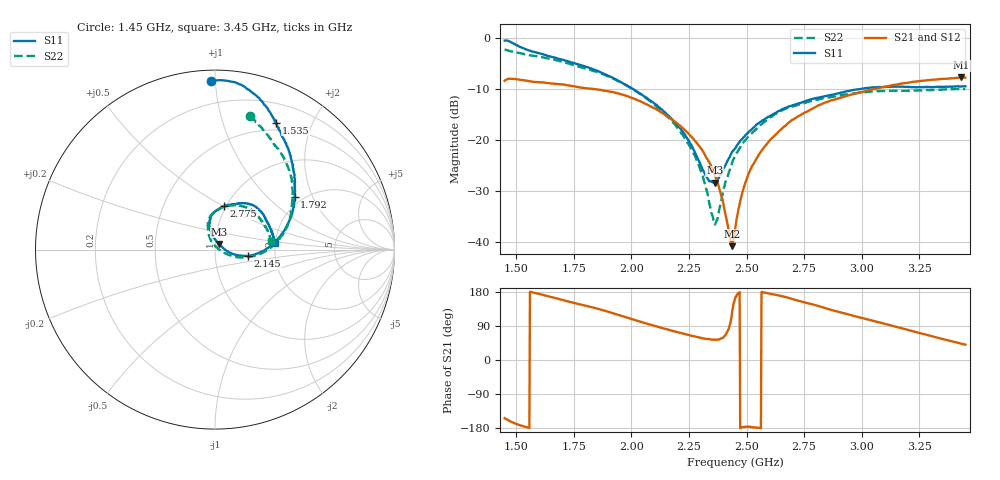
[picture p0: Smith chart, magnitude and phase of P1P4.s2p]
!Agilent Technologies,E8363B,MY43030801,A.06.04.21
!Agilent E8363B: A.06.04.21
!Date: Friday, October 24, 2025 08:33:00
!Correction: S11(Full 2 Port(1,2)) S21(Full 2 Port(1,2)) S12(Full 2 Port(1,2)) S22(Full 2 Port(1,2))
!S2P File: Measurements: S11, S21, S12, S22:
# Hz S  MA  R 50
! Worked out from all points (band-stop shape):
!   801 points, 1.45 GHz to 3.45 GHz, reference 50 ohm
!   highest |S21| = -7.75 dB at 3.433 GHz (marker M1); lowest = -40.9 dB at 2.438 GHz (marker M2)
!   |S21| within 3 dB of the highest: start of sweep to 1.93 GHz; 2.987 GHz to end of sweep
!   lowest |S11| = -28.4 dB at 2.362 GHz (marker M3), VSWR 1.08, Z = 52.2 + j3.22 ohm
!   |S11| at or under -10 dB: 2.005 GHz to 2.997 GHz (991.9 MHz wide, 39.7 % of centre)
!   |S22| runs from -36.6 to -2.3 dB; largest |S21 - S12| = 0.0044
!   S11 on the Smith chart (normalised r, x): 1.45 GHz: 0.06, +0.97; 1.535 GHz: 0.41, +1.51; 1.792 GHz: 1.82, +1.48; 2.145 GHz: 1.44, -0.11; 2.775 GHz: 0.98, +0.51; 3.45 GHz: 1.99, +0.16
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1.45e9  0.9406 91.4  0.3798 -153.3  0.3798 -153.7  0.7677 75.2
1.4875e9  0.8839 74.5  0.3962 -165.5  0.3979 -165.8  0.7313 69.9
1.535e9  0.785 64.4  0.3828 -175.7  0.3845 -175.8  0.6939 64.1
1.785e9  0.5369 34.4  0.3248 145.8  0.3249 145.5  0.5132 32.9
1.7925e9  0.5312 33.3  0.3232 144.7  0.3238 144.6  0.5077 31.9
1.9575e9  0.3656 11.0  0.2791 116.6  0.2801 116.2  0.3632 9.3
2.1175e9  0.2115 -8.2  0.194 87.5  0.1939 87.1  0.2041 -10.9
2.145e9  0.1868 -11.0  0.1774 82.5  0.1777 82.4  0.1789 -13.7
2.275e9  0.07648 -9.7  0.09814 62.4  0.09887 62.0  0.07041 -20.3
2.33e9  0.04226 19.7  0.06452 55.5  0.06504 55.6  0.03021 -7.4
2.3625e9  0.03792 54.2  0.04513 53.3  0.04563 53.2  0.01476 44.7
2.3725e9  0.04026 64.8  0.03938 53.6  0.03933 53.8  0.01634 69.4
2.4375e9  0.07612 97.9  0.009057 126.8  0.008723 125.9  0.05927 114.2
2.45e9  0.08206 99.7  0.01301 162.7  0.01327 160.9  0.06925 113.8
2.49e9  0.1071 102.9  0.03502 -177.1  0.03545 -177.1  0.09661 111.8
2.5475e9  0.1439 102.8  0.06749 -178.9  0.06774 -179.3  0.13 107.4
2.6525e9  0.1978 94.3  0.1274 168.2  0.128 168.4  0.194 96.2
2.775e9  0.2481 78.2  0.1961 148.7  0.1966 148.7  0.2381 80.4
2.785e9  0.2521 76.7  0.2019 147.0  0.2027 146.8  0.2413 79.4
3.1175e9  0.331 41.5  0.3378 92.8  0.3392 92.5  0.3035 42.2
3.4325e9  0.3343 7.8  0.4095 43.1  0.4075 42.6  0.3143 10.7
3.45e9  0.3353 6.1  0.4078 40.6  0.4092 40.2  0.316 8.8
